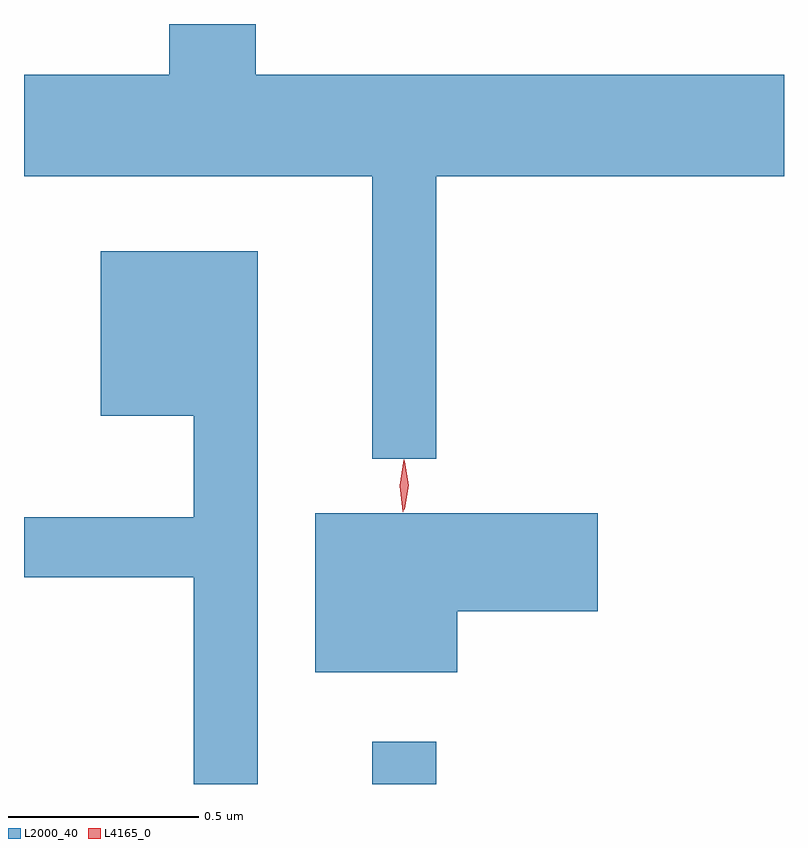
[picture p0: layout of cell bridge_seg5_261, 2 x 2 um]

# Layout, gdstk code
import gdstk
lib = gdstk.Library(unit=1e-6, precision=1e-09)
def R(c, l, rs):  # rectangles x0, y0, x1, y1
    for r in rs: c.add(gdstk.rectangle(r[:2], r[2:], *l))
def P(c, l, *ps):  # polygons
    for p in ps: c.add(gdstk.Polygon(p, *l))
L2000_40 = (2000, 40)
L4165_0 = (4165, 0)

bridge_seg5_261 = lib.new_cell('bridge_seg5_261')
R(bridge_seg5_261, L2000_40, [(1330.821,1450.757,1330.989,1450.868)])
P(bridge_seg5_261, L2000_40, [(1330.989,1452.356),(1331.904,1452.356),(1331.904,1452.624),(1330.514,1452.624),(1330.514,1452.757),(1330.286,1452.757),(1330.286,1452.624),(1329.904,1452.624),(1329.904,1452.356),(1330.821,1452.356),(1330.821,1451.613),(1330.989,1451.613)],
  [(1330.519,1452.159),(1330.106,1452.159),(1330.106,1451.726),(1330.351,1451.726),(1330.351,1451.459),(1329.904,1451.459),(1329.904,1451.301),(1330.351,1451.301),(1330.351,1450.757),(1330.519,1450.757)],
  [(1331.044,1451.211),(1331.414,1451.211),(1331.414,1451.469),(1330.671,1451.469),(1330.671,1451.051),(1331.044,1451.051)])
P(bridge_seg5_261, L4165_0, [(1330.905,1451.48),(1330.896,1451.543),(1330.905,1451.606),(1330.905,1451.607),(1330.906,1451.606),(1330.916,1451.543),(1330.906,1451.48),(1330.906,1451.48)],
  [(1330.901,1451.474),(1330.893,1451.542),(1330.903,1451.61),(1330.904,1451.61),(1330.904,1451.61),(1330.913,1451.542),(1330.902,1451.474),(1330.902,1451.474)])

lib.write_gds('bridge_seg5_261.gds')
